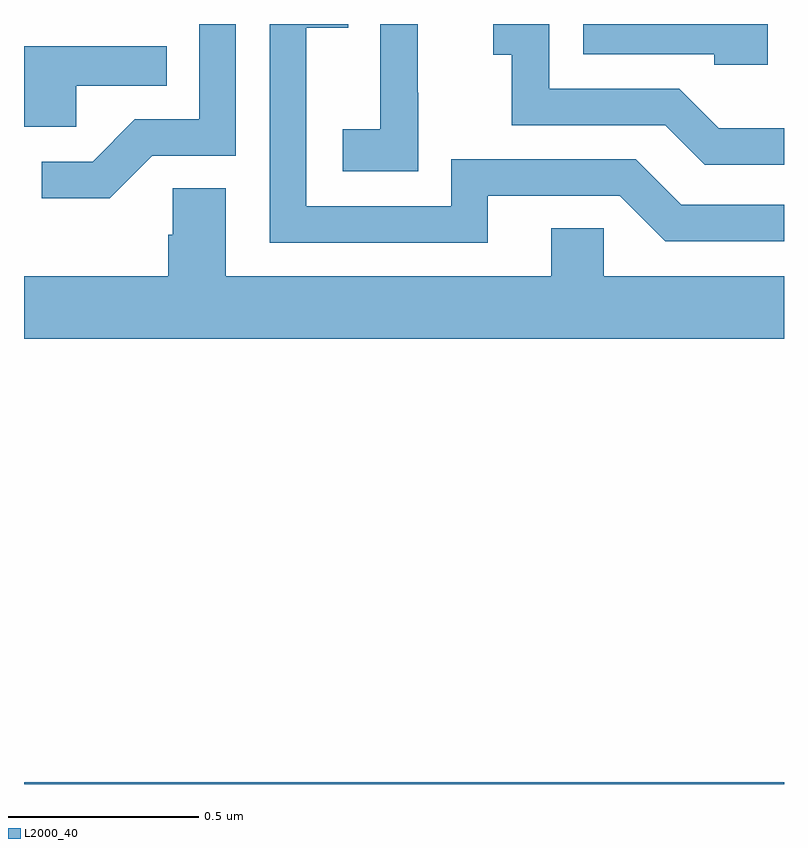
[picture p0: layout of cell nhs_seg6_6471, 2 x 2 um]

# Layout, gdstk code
import gdstk
lib = gdstk.Library(unit=1e-6, precision=1e-09)
def R(c, l, rs):  # rectangles x0, y0, x1, y1
    for r in rs: c.add(gdstk.rectangle(r[:2], r[2:], *l))
def P(c, l, *ps):  # polygons
    for p in ps: c.add(gdstk.Polygon(p, *l))
L2000_40 = (2000, 40)

nhs_seg6_6471 = lib.new_cell('nhs_seg6_6471')
R(nhs_seg6_6471, L2000_40, [(196,943.5,198,943.504)])
P(nhs_seg6_6471, L2000_40, [(198,945.226),(197.828,945.226),(197.724,945.33),(197.382,945.33),(197.382,945.5),(197.235,945.5),(197.235,945.419),(197.284,945.419),(197.284,945.234),(197.687,945.234),(197.792,945.129),(198,945.129)],
  [(196.338,945.153),(196.557,945.153),(196.557,945.5),(196.461,945.5),(196.461,945.249),(196.292,945.249),(196.181,945.138),(196.047,945.138),(196.047,945.041),(196.225,945.041)],
  [(197.037,945.319),(197.036,945.319),(197.036,945.5),(196.938,945.5),(196.938,945.452),(196.937,945.452),(196.937,945.223),(196.839,945.223),(196.839,945.113),(197.037,945.113)],
  [(197.957,945.5),(197.472,945.5),(197.472,945.42),(197.817,945.42),(197.817,945.393),(197.957,945.393)],
  [(197.221,945.048),(197.568,945.048),(197.688,944.928),(198,944.928),(198,945.024),(197.73,945.024),(197.61,945.144),(197.124,945.144),(197.124,945.021),(196.743,945.021),(196.743,945.49),(196.853,945.49),(196.853,945.5),(196.647,945.5),(196.647,944.925),(197.221,944.925)],
  [(196.137,945.338),(196.376,945.338),(196.376,945.442),(196,945.442),(196,945.23),(196.137,945.23)],
  [(196.392,945.068),(196.392,944.945),(196.379,944.945),(196.379,944.836),(196,944.836),(196,944.672),(198,944.672),(198,944.836),(197.526,944.836),(197.526,944.963),(197.387,944.963),(197.387,944.836),(196.531,944.836),(196.531,945.068)])

lib.write_gds('nhs_seg6_6471.gds')
